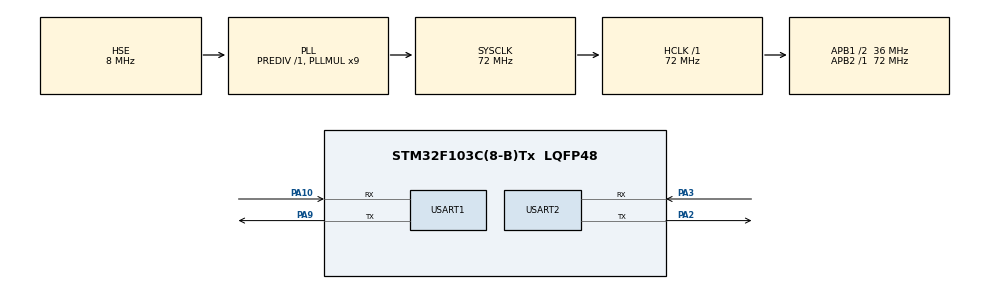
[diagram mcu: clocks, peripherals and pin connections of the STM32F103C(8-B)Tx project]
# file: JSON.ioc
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Dma.Request0=USART2_RX
Dma.Request1=USART2_TX
Dma.USART2_RX.0.Direction=DMA_PERIPH_TO_MEMORY
Dma.USART2_RX.0.Instance=DMA1_Channel6
Dma.USART2_RX.0.MemDataAlignment=DMA_MDATAALIGN_BYTE
Dma.USART2_RX.0.MemInc=DMA_MINC_ENABLE
Dma.USART2_RX.0.Mode=DMA_NORMAL
Dma.USART2_RX.0.PeriphDataAlignment=DMA_PDATAALIGN_BYTE
Dma.USART2_RX.0.PeriphInc=DMA_PINC_DISABLE
Dma.USART2_RX.0.Priority=DMA_PRIORITY_LOW
Dma.USART2_TX.1.Direction=DMA_MEMORY_TO_PERIPH
Dma.USART2_TX.1.Instance=DMA1_Channel7
Dma.USART2_TX.1.MemDataAlignment=DMA_MDATAALIGN_BYTE
Dma.USART2_TX.1.MemInc=DMA_MINC_ENABLE
Dma.USART2_TX.1.Mode=DMA_NORMAL
Dma.USART2_TX.1.PeriphDataAlignment=DMA_PDATAALIGN_BYTE
Dma.USART2_TX.1.PeriphInc=DMA_PINC_DISABLE
Dma.USART2_TX.1.Priority=DMA_PRIORITY_LOW
Mcu.Family=STM32F1
Mcu.Name=STM32F103C(8-B)Tx
Mcu.Package=LQFP48
NVIC.DMA1_Channel6_IRQn=true\:0\:0\:false\:false\:true\:false
NVIC.DMA1_Channel7_IRQn=true\:0\:0\:false\:false\:true\:false
NVIC.PriorityGroup=NVIC_PRIORITYGROUP_4
NVIC.USART2_IRQn=true\:0\:0\:false\:false\:true\:true
PA10.Mode=Asynchronous
PA10.Signal=USART1_RX
PA13.Mode=Serial_Wire
PA13.Signal=SYS_JTMS-SWDIO
PA14.Mode=Serial_Wire
PA14.Signal=SYS_JTCK-SWCLK
PA2.Mode=Asynchronous
PA2.Signal=USART2_TX
PA3.Mode=Asynchronous
PA3.Signal=USART2_RX
PA9.Mode=Asynchronous
PA9.Signal=USART1_TX
PD0-OSC_IN.Mode=HSE-External-Oscillator
PD0-OSC_IN.Signal=RCC_OSC_IN
PD1-OSC_OUT.Mode=HSE-External-Oscillator
PD1-OSC_OUT.Signal=RCC_OSC_OUT
ProjectManager.HeapSize=0x200
ProjectManager.StackSize=0x400
ProjectManager.TargetToolchain=MDK-ARM V5
RCC.AHBFreq_Value=72000000
RCC.APB1CLKDivider=RCC_HCLK_DIV2
RCC.APB1Freq_Value=36000000
RCC.APB1TimFreq_Value=72000000
RCC.APB2Freq_Value=72000000
RCC.APB2TimFreq_Value=72000000
RCC.HCLKFreq_Value=72000000
RCC.PLLMUL=RCC_PLL_MUL9
RCC.PLLSourceVirtual=RCC_PLLSOURCE_HSE
RCC.SYSCLKFreq_VALUE=72000000
RCC.SYSCLKSource=RCC_SYSCLKSOURCE_PLLCLK
RCC.USBFreq_Value=72000000
USART1.VirtualMode=VM_ASYNC
USART2.VirtualMode=VM_ASYNC
board=custom

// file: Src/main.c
/* USER CODE BEGIN Header */
/**
  ******************************************************************************
  * @file           : main.c
  * @brief          : Main program body
  ******************************************************************************
  ** This notice applies to any and all portions of this file
  * that are not between comment pairs USER CODE BEGIN and
  * USER CODE END. Other portions of this file, whether
  * inserted by the user or by software development tools
  * are owned by their respective copyright owners.
  *
  * COPYRIGHT(c) 2019 STMicroelectronics
  *
  * Redistribution and use in source and binary forms, with or without modification,
  * are permitted provided that the following conditions are met:
  *   1. Redistributions of source code must retain the above copyright notice,
  *      this list of conditions and the following disclaimer.
  *   2. Redistributions in binary form must reproduce the above copyright notice,
  *      this list of conditions and the following disclaimer in the documentation
  *      and/or other materials provided with the distribution.
  *   3. Neither the name of STMicroelectronics nor the names of its contributors
  *      may be used to endorse or promote products derived from this software
  *      without specific prior written permission.
  *
  * THIS SOFTWARE IS PROVIDED BY THE COPYRIGHT HOLDERS AND CONTRIBUTORS "AS IS"
  * AND ANY EXPRESS OR IMPLIED WARRANTIES, INCLUDING, BUT NOT LIMITED TO, THE
  * IMPLIED WARRANTIES OF MERCHANTABILITY AND FITNESS FOR A PARTICULAR PURPOSE ARE
  * DISCLAIMED. IN NO EVENT SHALL THE COPYRIGHT HOLDER OR CONTRIBUTORS BE LIABLE
  * FOR ANY DIRECT, INDIRECT, INCIDENTAL, SPECIAL, EXEMPLARY, OR CONSEQUENTIAL
  * DAMAGES (INCLUDING, BUT NOT LIMITED TO, PROCUREMENT OF SUBSTITUTE GOODS OR
  * SERVICES; LOSS OF USE, DATA, OR PROFITS; OR BUSINESS INTERRUPTION) HOWEVER
  * CAUSED AND ON ANY THEORY OF LIABILITY, WHETHER IN CONTRACT, STRICT LIABILITY,
  * OR TORT (INCLUDING NEGLIGENCE OR OTHERWISE) ARISING IN ANY WAY OUT OF THE USE
  * OF THIS SOFTWARE, EVEN IF ADVISED OF THE POSSIBILITY OF SUCH DAMAGE.
  *
  ******************************************************************************
  */
/* USER CODE END Header */

#include "main.h"
#include "dma.h"
#include "usart.h"
#include "gpio.h"

/* USER CODE BEGIN Includes */
#include "cJSON.h"
#include <stdio.h>
#include <stdlib.h>
#include <string.h>
/* USER CODE END Includes */

/* USER CODE BEGIN PTD */
void doit(char *text)
{
	char *out;cJSON *json;

	json=cJSON_Parse(text);
	if (!json) {printf("Error before: [%s]\n",cJSON_GetErrorPtr());}
	else
	{
//		out=cJSON_Print(json);
//		printf("json = %s\n",out);
		printf("hello1\r\n");
		cJSON *results = cJSON_GetObjectItem(json,"results");
		cJSON *results0 =  cJSON_GetArrayItem(results,0);
		if(results0 != NULL)
		{
			cJSON *location = cJSON_GetObjectItem(results0,"location");
			char *name = cJSON_GetObjectItem(location,"name")->valuestring;
			printf("locationName = %s\r\n",name);

//			cJSON *daily = cJSON_GetObjectItem(results0,"daily");
//
//			cJSON *daily0 = cJSON_GetArrayItem(daily,0);
//			char *date = cJSON_GetObjectItem(daily0,"date")->valuestring;
//			char *text_day = cJSON_GetObjectItem(daily0,"text_day")->valuestring;
//			char *text_night = cJSON_GetObjectItem(daily0,"text_night")->valuestring;
//			char *high = cJSON_GetObjectItem(daily0,"high")->valuestring;
//				char *low = cJSON_GetObjectItem(daily0,"low")->valuestring;
//			char *wind_direction = cJSON_GetObjectItem(daily0,"wind_direction")->valuestring;
//			char *wind_direction_degree = cJSON_GetObjectItem(daily0,"wind_direction_degree")->valuestring;
//			char *wind_speed = cJSON_GetObjectItem(daily0,"wind_speed")->valuestring;
//			char *wind_scale = cJSON_GetObjectItem(daily0,"wind_scale")->valuestring;
//			char *humidity = cJSON_GetObjectItem(daily0,"humidity")->valuestring;
//			printf("date = %s\n",date);
//			printf("text_day = %s\n",text_day);
//			printf("text_night = %s\n",text_night);
//			printf("high = %s\n",high);
//			printf("low = %s\n",low);

//			cJSON *daily1 = cJSON_GetArrayItem(daily,1);
//			cJSON *daily2 = cJSON_GetArrayItem(daily,2);

				cJSON_Delete(location);
				free(name);
				printf("hello2\r\n");

		}
		printf("hello3\r\n");

		cJSON_Delete(results);
		cJSON_Delete(results0);
		cJSON_Delete(json);
//		free(out);
		printf("hello4\r\n");
	}
}
uint8_t Rdata[4096];
uint8_t buff[2048];
/* USER CODE END PTD */

void SystemClock_Config(void);

/* USER CODE BEGIN 0 */
int fputc(int ch,FILE *p)
{
	while(!(USART1->SR & (1<<7)));

	USART1->DR = ch;

	return ch;
}
/* USER CODE END 0 */

int main(void)
{

  /* MCU Configuration--------------------------------------------------------*/

  /* Reset of all peripherals, Initializes the Flash interface and the Systick. */
  HAL_Init();

  /* Configure the system clock */
  SystemClock_Config();

  /* Initialize all configured peripherals */
  MX_GPIO_Init();
  MX_DMA_Init();
  MX_USART1_UART_Init();
  MX_USART2_UART_Init();
  /* USER CODE BEGIN 2 */
	HAL_UART_Receive_IT(&huart2,Rdata,strlen((char *)Rdata));
  /* USER CODE END 2 */

  /* Infinite loop */
  while (1)
  {

    /* USER CODE BEGIN 3 */
		HAL_UART_Receive_IT(&huart2,Rdata,strlen((char *)Rdata));

  }
  /* USER CODE END 3 */
}

void SystemClock_Config(void)
{
  RCC_OscInitTypeDef RCC_OscInitStruct = {0};
  RCC_ClkInitTypeDef RCC_ClkInitStruct = {0};

  /**Initializes the CPU, AHB and APB busses clocks
  */
  RCC_OscInitStruct.OscillatorType = RCC_OSCILLATORTYPE_HSE;
  RCC_OscInitStruct.HSEState = RCC_HSE_ON;
  RCC_OscInitStruct.HSEPredivValue = RCC_HSE_PREDIV_DIV1;
  RCC_OscInitStruct.HSIState = RCC_HSI_ON;
  RCC_OscInitStruct.PLL.PLLState = RCC_PLL_ON;
  RCC_OscInitStruct.PLL.PLLSource = RCC_PLLSOURCE_HSE;
  RCC_OscInitStruct.PLL.PLLMUL = RCC_PLL_MUL9;
  if (HAL_RCC_OscConfig(&RCC_OscInitStruct) != HAL_OK)
  {
    Error_Handler();
  }
  /**Initializes the CPU, AHB and APB busses clocks
  */
  RCC_ClkInitStruct.ClockType = RCC_CLOCKTYPE_HCLK|RCC_CLOCKTYPE_SYSCLK
                              |RCC_CLOCKTYPE_PCLK1|RCC_CLOCKTYPE_PCLK2;
  RCC_ClkInitStruct.SYSCLKSource = RCC_SYSCLKSOURCE_PLLCLK;
  RCC_ClkInitStruct.AHBCLKDivider = RCC_SYSCLK_DIV1;
  RCC_ClkInitStruct.APB1CLKDivider = RCC_HCLK_DIV2;
  RCC_ClkInitStruct.APB2CLKDivider = RCC_HCLK_DIV1;

  if (HAL_RCC_ClockConfig(&RCC_ClkInitStruct, FLASH_LATENCY_2) != HAL_OK)
  {
    Error_Handler();
  }
}

/* USER CODE BEGIN 4 */
void HAL_UART_RxCpltCallback(UART_HandleTypeDef *huart)
{
	if(huart->Instance == USART2)
	{

		printf("usart\r\n");
		//截取有效的json数据
		char *index = strchr((const char *)Rdata,'{');
		strcpy((char *)buff,(char *)index);
		//json数据解析
		doit((char *)buff);

		printf("world\r\n");
		//清空接收的数组
		memset(Rdata,0,sizeof(Rdata));
		memset(buff,0,sizeof(buff));
		//开启接收中断
		HAL_UART_Receive_IT(&huart2,Rdata,strlen((char *)Rdata));
	}
}
/* USER CODE END 4 */

void Error_Handler(void)
{
}

/************************ (C) COPYRIGHT STMicroelectronics *****END OF FILE****/
